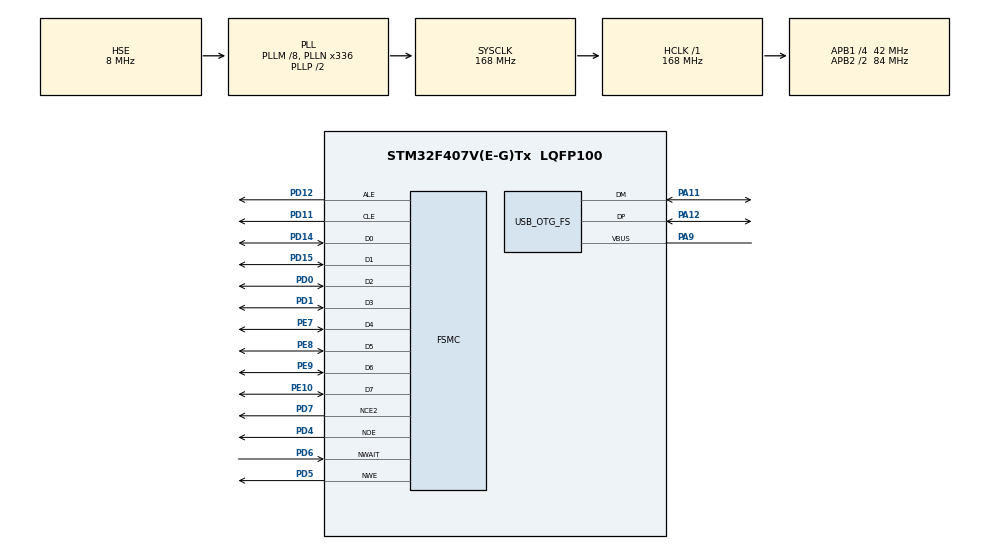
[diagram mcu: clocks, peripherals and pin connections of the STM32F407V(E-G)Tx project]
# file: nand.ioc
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Mcu.Family=STM32F4
Mcu.Name=STM32F407V(E-G)Tx
Mcu.Package=LQFP100
NVIC.OTG_FS_IRQn=true\:0\:0\:false\:false\:true
NVIC.PriorityGroup=NVIC_PRIORITYGROUP_0
PA11.Mode=Device_Only
PA11.Signal=USB_OTG_FS_DM
PA12.Mode=Device_Only
PA12.Signal=USB_OTG_FS_DP
PA9.Mode=Activate_VBUS
PA9.Signal=USB_OTG_FS_VBUS
PD0.GPIO_Mode=GPIO_MODE_AF_PP
PD0.GPIO_PuPd=GPIO_PULLUP
PD0.GPIO_Speed_High_Default=GPIO_SPEED_FREQ_VERY_HIGH
PD0.Mode=8b-dmux1
PD0.Signal=FSMC_D2
PD1.GPIO_Mode=GPIO_MODE_AF_PP
PD1.GPIO_PuPd=GPIO_PULLUP
PD1.GPIO_Speed_High_Default=GPIO_SPEED_FREQ_VERY_HIGH
PD1.Mode=8b-dmux1
PD1.Signal=FSMC_D3
PD11.GPIO_Mode=GPIO_MODE_AF_PP
PD11.GPIO_PuPd=GPIO_PULLUP
PD11.GPIO_Speed_High_Default=GPIO_SPEED_FREQ_VERY_HIGH
PD11.Mode=8b-dmux1
PD11.Signal=FSMC_CLE
PD12.GPIO_Mode=GPIO_MODE_AF_PP
PD12.GPIO_PuPd=GPIO_PULLUP
PD12.GPIO_Speed_High_Default=GPIO_SPEED_FREQ_VERY_HIGH
PD12.Mode=8b-dmux1
PD12.Signal=FSMC_ALE
PD14.GPIO_Mode=GPIO_MODE_AF_PP
PD14.GPIO_PuPd=GPIO_PULLUP
PD14.GPIO_Speed_High_Default=GPIO_SPEED_FREQ_VERY_HIGH
PD14.Mode=8b-dmux1
PD14.Signal=FSMC_D0
PD15.GPIO_Mode=GPIO_MODE_AF_PP
PD15.GPIO_PuPd=GPIO_PULLUP
PD15.GPIO_Speed_High_Default=GPIO_SPEED_FREQ_VERY_HIGH
PD15.Mode=8b-dmux1
PD15.Signal=FSMC_D1
PD4.GPIO_Mode=GPIO_MODE_AF_PP
PD4.GPIO_PuPd=GPIO_PULLUP
PD4.GPIO_Speed_High_Default=GPIO_SPEED_FREQ_VERY_HIGH
PD4.Mode=8b-dmux1
PD4.Signal=FSMC_NOE
PD5.GPIO_Mode=GPIO_MODE_AF_PP
PD5.GPIO_PuPd=GPIO_PULLUP
PD5.GPIO_Speed_High_Default=GPIO_SPEED_FREQ_VERY_HIGH
PD5.Mode=8b-dmux1
PD5.Signal=FSMC_NWE
PD6.GPIO_Mode=GPIO_MODE_AF_PP
PD6.GPIO_PuPd=GPIO_PULLUP
PD6.GPIO_Speed_High_Default=GPIO_SPEED_FREQ_VERY_HIGH
PD6.Mode=Wait1
PD6.Signal=FSMC_NWAIT
PD7.GPIO_Mode=GPIO_MODE_AF_PP
PD7.GPIO_PuPd=GPIO_PULLUP
PD7.GPIO_Speed_High_Default=GPIO_SPEED_FREQ_VERY_HIGH
PD7.Mode=NandChipSelect2_1
PD7.Signal=FSMC_NCE2
PE10.GPIO_Mode=GPIO_MODE_AF_PP
PE10.GPIO_PuPd=GPIO_PULLUP
PE10.GPIO_Speed_High_Default=GPIO_SPEED_FREQ_VERY_HIGH
PE10.Mode=8b-dmux1
PE10.Signal=FSMC_D7
PE7.GPIO_Mode=GPIO_MODE_AF_PP
PE7.GPIO_PuPd=GPIO_PULLUP
PE7.GPIO_Speed_High_Default=GPIO_SPEED_FREQ_VERY_HIGH
PE7.Mode=8b-dmux1
PE7.Signal=FSMC_D4
PE8.GPIO_Mode=GPIO_MODE_AF_PP
PE8.GPIO_PuPd=GPIO_PULLUP
PE8.GPIO_Speed_High_Default=GPIO_SPEED_FREQ_VERY_HIGH
PE8.Mode=8b-dmux1
PE8.Signal=FSMC_D5
PE9.GPIO_Mode=GPIO_MODE_AF_PP
PE9.GPIO_PuPd=GPIO_PULLUP
PE9.GPIO_Speed_High_Default=GPIO_SPEED_FREQ_VERY_HIGH
PE9.Mode=8b-dmux1
PE9.Signal=FSMC_D6
PH0-OSC_IN.Mode=HSE-External-Oscillator
PH0-OSC_IN.Signal=RCC_OSC_IN
PH1-OSC_OUT.Mode=HSE-External-Oscillator
PH1-OSC_OUT.Signal=RCC_OSC_OUT
ProjectManager.HeapSize=0x200
ProjectManager.StackSize=0x400
ProjectManager.TargetToolchain=SW4STM32
RCC.48MHZClocksFreq_Value=48000000
RCC.AHBFreq_Value=168000000
RCC.APB1CLKDivider=RCC_HCLK_DIV4
RCC.APB1Freq_Value=42000000
RCC.APB1TimFreq_Value=84000000
RCC.APB2CLKDivider=RCC_HCLK_DIV2
RCC.APB2Freq_Value=84000000
RCC.APB2TimFreq_Value=168000000
RCC.CortexFreq_Value=168000000
RCC.HCLKFreq_Value=168000000
RCC.HSE_VALUE=8000000
RCC.HSI_VALUE=16000000
RCC.LSE_VALUE=32768
RCC.PLLM=8
RCC.PLLN=336
RCC.PLLQ=7
RCC.SYSCLKFreq_VALUE=168000000
RCC.SYSCLKSource=RCC_SYSCLKSOURCE_PLLCLK
RCC.VCOOutputFreq_Value=336000000
USB_DEVICE.CLASS_NAME-CDC_FS=CDC
USB_DEVICE.CLASS_NAME_FS=CDC
USB_DEVICE.USBD_HandleTypeDef-CDC_FS=hUsbDeviceFS
USB_DEVICE.VirtualMode-CDC_FS=Cdc
USB_DEVICE.VirtualModeFS=Cdc_FS
USB_OTG_FS.VirtualMode=Device_Only
VP_USB_DEVICE_VS_USB_DEVICE_CDC_FS.Mode=CDC_FS
board=STM32F4DISCOVERY

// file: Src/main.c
/**
 ******************************************************************************
 * File Name          : main.c
 * Description        : Main program body
 ******************************************************************************
 * This notice applies to any and all portions of this file
 * that are not between comment pairs USER CODE BEGIN and
 * USER CODE END. Other portions of this file, whether
 * inserted by the user or by software development tools
 * are owned by their respective copyright owners.
 *
 * Copyright (c) 2017 STMicroelectronics International N.V.
 * All rights reserved.
 *
 * Redistribution and use in source and binary forms, with or without
 * modification, are permitted, provided that the following conditions are met:
 *
 * 1. Redistribution of source code must retain the above copyright notice,
 *    this list of conditions and the following disclaimer.
 * 2. Redistributions in binary form must reproduce the above copyright notice,
 *    this list of conditions and the following disclaimer in the documentation
 *    and/or other materials provided with the distribution.
 * 3. Neither the name of STMicroelectronics nor the names of other
 *    contributors to this software may be used to endorse or promote products
 *    derived from this software without specific written permission.
 * 4. This software, including modifications and/or derivative works of this
 *    software, must execute solely and exclusively on microcontroller or
 *    microprocessor devices manufactured by or for STMicroelectronics.
 * 5. Redistribution and use of this software other than as permitted under
 *    this license is void and will automatically terminate your rights under
 *    this license.
 *
 * THIS SOFTWARE IS PROVIDED BY STMICROELECTRONICS AND CONTRIBUTORS "AS IS"
 * AND ANY EXPRESS, IMPLIED OR STATUTORY WARRANTIES, INCLUDING, BUT NOT
 * LIMITED TO, THE IMPLIED WARRANTIES OF MERCHANTABILITY, FITNESS FOR A
 * PARTICULAR PURPOSE AND NON-INFRINGEMENT OF THIRD PARTY INTELLECTUAL PROPERTY
 * RIGHTS ARE DISCLAIMED TO THE FULLEST EXTENT PERMITTED BY LAW. IN NO EVENT
 * SHALL STMICROELECTRONICS OR CONTRIBUTORS BE LIABLE FOR ANY DIRECT, INDIRECT,
 * INCIDENTAL, SPECIAL, EXEMPLARY, OR CONSEQUENTIAL DAMAGES (INCLUDING, BUT NOT
 * LIMITED TO, PROCUREMENT OF SUBSTITUTE GOODS OR SERVICES; LOSS OF USE, DATA,
 * OR PROFITS; OR BUSINESS INTERRUPTION) HOWEVER CAUSED AND ON ANY THEORY OF
 * LIABILITY, WHETHER IN CONTRACT, STRICT LIABILITY, OR TORT (INCLUDING
 * NEGLIGENCE OR OTHERWISE) ARISING IN ANY WAY OUT OF THE USE OF THIS SOFTWARE,
 * EVEN IF ADVISED OF THE POSSIBILITY OF SUCH DAMAGE.
 *
 ******************************************************************************
 */
#include "main.h"
#include "stm32f4xx_hal.h"
#include "usb_device.h"
#include "usbd_cdc_if.h"
#include "helper.h"

#define CMD_READID 'i'
#define CMD_READPAGE 'p'
#define CMD_READSPARE 's'
#define CMD_PING1 '1'
#define CMD_PING2 '2'
#define CMD_ERASE 'e'
#define CMD_WRITEPAGE 'w'
#define CMD_WRITESPARE 'r'
#define CMD_WRITE_PAGE_SPARE 'o'

#define CMD_RET_OK 0x00
#define CMD_RET_ERROR 0xFF

NAND_HandleTypeDef hnand1;

/* USER CODE BEGIN PV */
/* Private variables ---------------------------------------------------------*/
static NAND_IDTypeDef NAND_ID = {0};
static uint8_t aRxBuffer[4096+224];
struct RespondHeader {
   uint32_t ret;
   uint32_t payload_sz;
   uint32_t crc;
} cmd_header;
/* USER CODE END PV */

#ifdef __GNUC__
  /* With GCC, small printf (option LD Linker->Libraries->Small printf
     set to 'Yes') calls __io_putchar() */
  #define PUTCHAR_PROTOTYPE int __io_putchar(int ch)
#else
  #define PUTCHAR_PROTOTYPE int fputc(int ch, FILE *f)
#endif /* __GNUC__ */
void SystemClock_Config(void);
static void MX_GPIO_Init(void);
static void MX_FSMC_Init(void);
void Send(uint8_t* buf, size_t len);
void SendChar(uint8_t ch);
uint8_t CalCRC(uint8_t* buf, size_t len)
{
	return 0; //return 0 for now
}
uint8_t RecvChar();

/* USER CODE BEGIN PFP */
/* Private function prototypes -----------------------------------------------*/

/* USER CODE END PFP */

int main(void) {

	/* MCU Configuration----------------------------------------------------------*/

	/* Reset of all peripherals, Initializes the Flash interface and the Systick. */
	HAL_Init();

	/* Configure the system clock */
	SystemClock_Config();

	/* Initialize all configured peripherals */
	MX_GPIO_Init();
	MX_FSMC_Init();
	MX_USB_DEVICE_Init();

	/* Infinite loop */
	/* USER CODE BEGIN WHILE */
	NAND_AddressTypedef Address;

	uint16_t pcount = 0;

	while(1) {
		if(receive_buff_size()){
			switch(RecvChar())
			{
			case CMD_READID:
				//Some NAND need to reset first to get the correct ID
				HAL_NAND_Reset(&hnand1);
				if (HAL_NAND_Read_ID(&hnand1, &NAND_ID) != HAL_OK) {
					cmd_header.ret=CMD_RET_ERROR;
					cmd_header.payload_sz=0;
					cmd_header.crc=0;
					Send((uint8_t*)&cmd_header, sizeof(cmd_header));
				} else {
					aRxBuffer[0] = NAND_ID.Maker_Id;
					aRxBuffer[1] = NAND_ID.Device_Id;
					aRxBuffer[2] = NAND_ID.Third_Id;
					aRxBuffer[3] = NAND_ID.Fourth_Id;
					cmd_header.payload_sz = 4;
					cmd_header.ret = CMD_RET_OK;
					cmd_header.crc = CalCRC(aRxBuffer, 4);
					Send((uint8_t*)&cmd_header, sizeof(cmd_header));
					Send(aRxBuffer, cmd_header.payload_sz);
				}
				break;
			case CMD_READPAGE:
				Address.Page = RecvChar();
				Address.Page |= RecvChar() << 8;
				Address.Block = RecvChar();
				Address.Block |= RecvChar() << 8;
				Address.Plane = RecvChar();
				Address.Plane |= RecvChar() << 8;

				if (HAL_NAND_Read_Page(&hnand1, &Address, aRxBuffer, 1) != HAL_OK) {
					cmd_header.ret=CMD_RET_ERROR;
					cmd_header.payload_sz=0;
					cmd_header.crc=0;
					Send((uint8_t*)&cmd_header, sizeof(cmd_header));
				} else {
					cmd_header.payload_sz = hnand1.Config.PageSize;
					cmd_header.ret = CMD_RET_OK;
					cmd_header.crc = CalCRC(aRxBuffer, hnand1.Config.PageSize);
					Send((uint8_t*)&cmd_header, sizeof(cmd_header));
					Send(aRxBuffer, cmd_header.payload_sz);
				}
				break;
			case CMD_READSPARE:
				Address.Page = RecvChar();
				Address.Page |= RecvChar() << 8;
				Address.Block = RecvChar();
				Address.Block |= RecvChar() << 8;
				Address.Plane = RecvChar();
				Address.Plane |= RecvChar() << 8;

				if (HAL_NAND_Read_SpareArea(&hnand1, &Address, aRxBuffer, 1) != HAL_OK) {
					cmd_header.ret=CMD_RET_ERROR;
					cmd_header.payload_sz=0;
					cmd_header.crc=0;
					Send((uint8_t*)&cmd_header, sizeof(cmd_header));
				} else {
					cmd_header.payload_sz = hnand1.Config.SpareAreaSize;
					cmd_header.ret = CMD_RET_OK;
					cmd_header.crc = CalCRC(aRxBuffer, hnand1.Config.SpareAreaSize);
					Send((uint8_t*)&cmd_header, sizeof(cmd_header));
					Send(aRxBuffer, cmd_header.payload_sz);
				}
				break;
			case CMD_ERASE:
				Address.Page = 0;
				Address.Block = RecvChar();
				Address.Block |= RecvChar() << 8;
				Address.Plane = RecvChar();
				Address.Plane |= RecvChar() << 8;

				if (HAL_NAND_Erase_Block(&hnand1, &Address) != HAL_OK) {
					cmd_header.ret=CMD_RET_ERROR;
					cmd_header.payload_sz=0;
					cmd_header.crc=0;
					Send((uint8_t*)&cmd_header, sizeof(cmd_header));
				} else {
					cmd_header.ret=CMD_RET_OK;
					cmd_header.payload_sz=0;
					cmd_header.crc=0;
					Send((uint8_t*)&cmd_header, sizeof(cmd_header));
				}
				break;
			case CMD_WRITEPAGE:
				Address.Page = RecvChar();
				Address.Page |= RecvChar() << 8;
				Address.Block = RecvChar();
				Address.Block |= RecvChar() << 8;
				Address.Plane = RecvChar();
				Address.Plane |= RecvChar() << 8;

				for(pcount = 0; pcount < hnand1.Config.PageSize; pcount++) {
					aRxBuffer[pcount] = RecvChar();
				}

				if (HAL_NAND_Write_Page(&hnand1, &Address, aRxBuffer, 1) != HAL_OK) {
					cmd_header.ret=CMD_RET_ERROR;
					cmd_header.payload_sz=0;
					cmd_header.crc=0;
					Send((uint8_t*)&cmd_header, sizeof(cmd_header));
				} else {
					cmd_header.ret=CMD_RET_OK;
					cmd_header.payload_sz=0;
					cmd_header.crc=0;
					Send((uint8_t*)&cmd_header, sizeof(cmd_header));
				}
				break;
			case CMD_WRITESPARE:
				Address.Page = RecvChar();
				Address.Page |= RecvChar() << 8;
				Address.Block = RecvChar();
				Address.Block |= RecvChar() << 8;
				Address.Plane = RecvChar();
				Address.Plane |= RecvChar() << 8;

				for(pcount = 0; pcount < hnand1.Config.SpareAreaSize; pcount++) {
					aRxBuffer[pcount] = RecvChar();
				}

				if (HAL_NAND_Write_SpareArea(&hnand1, &Address, aRxBuffer, 1) != HAL_OK) {
					cmd_header.ret=CMD_RET_ERROR;
					cmd_header.payload_sz=0;
					cmd_header.crc=0;
					Send((uint8_t*)&cmd_header, sizeof(cmd_header));
				} else {
					cmd_header.ret=CMD_RET_OK;
					cmd_header.payload_sz=0;
					cmd_header.crc=0;
					Send((uint8_t*)&cmd_header, sizeof(cmd_header));
				}
				break;
			case CMD_WRITE_PAGE_SPARE:
				Address.Page = RecvChar();
				Address.Page |= RecvChar() << 8;
				Address.Block = RecvChar();
				Address.Block |= RecvChar() << 8;
				Address.Plane = RecvChar();
				Address.Plane |= RecvChar() << 8;

				for(pcount = 0; pcount < (hnand1.Config.SpareAreaSize+hnand1.Config.PageSize); pcount++) {
					aRxBuffer[pcount] = RecvChar();
				}

				if (HAL_NAND_Write_Page_Oob_8b(&hnand1, &Address, aRxBuffer, 1) != HAL_OK) {
					cmd_header.ret=CMD_RET_ERROR;
					cmd_header.payload_sz=0;
					cmd_header.crc=0;
					Send((uint8_t*)&cmd_header, sizeof(cmd_header));
				} else {
					cmd_header.ret=CMD_RET_OK;
					cmd_header.payload_sz=0;
					cmd_header.crc=0;
					Send((uint8_t*)&cmd_header, sizeof(cmd_header));
				}
				break;
			case CMD_PING1:
				SendChar('a');
				break;
			case CMD_PING2:
				SendChar('b');
				break;
			default:
				continue;
			}
		}
	}
	/* USER CODE END 3 */

}

/** System Clock Configuration
 */
void SystemClock_Config(void) {

	RCC_OscInitTypeDef RCC_OscInitStruct;
	RCC_ClkInitTypeDef RCC_ClkInitStruct;

	/**Configure the main internal regulator output voltage
	 */
	__HAL_RCC_PWR_CLK_ENABLE();

	__HAL_PWR_VOLTAGESCALING_CONFIG(PWR_REGULATOR_VOLTAGE_SCALE1);

	/**Initializes the CPU, AHB and APB busses clocks
	 */
	RCC_OscInitStruct.OscillatorType = RCC_OSCILLATORTYPE_HSE;
	RCC_OscInitStruct.HSEState = RCC_HSE_ON;
	RCC_OscInitStruct.PLL.PLLState = RCC_PLL_ON;
	RCC_OscInitStruct.PLL.PLLSource = RCC_PLLSOURCE_HSE;
	RCC_OscInitStruct.PLL.PLLM = 8;
	RCC_OscInitStruct.PLL.PLLN = 336;
	RCC_OscInitStruct.PLL.PLLP = RCC_PLLP_DIV2;
	RCC_OscInitStruct.PLL.PLLQ = 7;
	if (HAL_RCC_OscConfig(&RCC_OscInitStruct) != HAL_OK) {
		_Error_Handler(__FILE__, __LINE__);
	}

	/**Initializes the CPU, AHB and APB busses clocks
	 */
	RCC_ClkInitStruct.ClockType = RCC_CLOCKTYPE_HCLK | RCC_CLOCKTYPE_SYSCLK
			| RCC_CLOCKTYPE_PCLK1 | RCC_CLOCKTYPE_PCLK2;
	RCC_ClkInitStruct.SYSCLKSource = RCC_SYSCLKSOURCE_PLLCLK;
	RCC_ClkInitStruct.AHBCLKDivider = RCC_SYSCLK_DIV1;
	RCC_ClkInitStruct.APB1CLKDivider = RCC_HCLK_DIV4;
	RCC_ClkInitStruct.APB2CLKDivider = RCC_HCLK_DIV2;

	if (HAL_RCC_ClockConfig(&RCC_ClkInitStruct, FLASH_LATENCY_5) != HAL_OK) {
		_Error_Handler(__FILE__, __LINE__);
	}

	/**Configure the Systick interrupt time
	 */
	HAL_SYSTICK_Config(HAL_RCC_GetHCLKFreq() / 1000);

	/**Configure the Systick
	 */
	HAL_SYSTICK_CLKSourceConfig(SYSTICK_CLKSOURCE_HCLK);

	/* SysTick_IRQn interrupt configuration */
	HAL_NVIC_SetPriority(SysTick_IRQn, 0, 0);
}

/** Configure pins as
 * Analog
 * Input
 * Output
 * EVENT_OUT
 * EXTI
 */
static void MX_GPIO_Init(void) {

	/* GPIO Ports Clock Enable */
	__HAL_RCC_GPIOH_CLK_ENABLE();
	__HAL_RCC_GPIOE_CLK_ENABLE();
	__HAL_RCC_GPIOD_CLK_ENABLE();
	__HAL_RCC_GPIOA_CLK_ENABLE();

}

/* FSMC initialization function */
static void MX_FSMC_Init(void) {
	FSMC_NAND_PCC_TimingTypeDef ComSpaceTiming;
	FSMC_NAND_PCC_TimingTypeDef AttSpaceTiming;

	/** Perform the NAND1 memory initialization sequence
	 */
	hnand1.Instance = FSMC_NAND_DEVICE;
	/* hnand1.Init */
	hnand1.Init.NandBank = FSMC_NAND_BANK2;
	hnand1.Init.Waitfeature = FSMC_NAND_PCC_WAIT_FEATURE_ENABLE;
	hnand1.Init.MemoryDataWidth = FSMC_NAND_PCC_MEM_BUS_WIDTH_8;
	hnand1.Init.EccComputation = FSMC_NAND_ECC_DISABLE;
	hnand1.Init.ECCPageSize = FSMC_NAND_ECC_PAGE_SIZE_4096BYTE;
	hnand1.Init.TCLRSetupTime = 2;
	hnand1.Init.TARSetupTime = 2;
	/* hnand1.Config */
	hnand1.Config.PageSize = 0x1000;
	hnand1.Config.SpareAreaSize = 0xe0;
	hnand1.Config.BlockSize = 0x100;
	hnand1.Config.BlockNbr = 0x800;
	hnand1.Config.PlaneNbr = 2;
	hnand1.Config.PlaneSize = 0x400;
	hnand1.Config.ExtraCommandEnable = DISABLE;
	/* ComSpaceTiming */
	ComSpaceTiming.SetupTime = 5;//3;
	ComSpaceTiming.WaitSetupTime = 10;//10;
	ComSpaceTiming.HoldSetupTime = 4;//4;
	ComSpaceTiming.HiZSetupTime = 14;//14;
	/* AttSpaceTiming */
	AttSpaceTiming.SetupTime = 5;//3;
	AttSpaceTiming.WaitSetupTime = 10;//10;
	AttSpaceTiming.HoldSetupTime = 4;//4;
	AttSpaceTiming.HiZSetupTime = 14;//14;

	if (HAL_NAND_Init(&hnand1, &ComSpaceTiming, &AttSpaceTiming) != HAL_OK) {
		_Error_Handler(__FILE__, __LINE__);
	}

}

/* USER CODE BEGIN 4 */

/**
  * @brief  Retargets the C library printf function to the USART.
  * @param  None
  * @retval None
  */
PUTCHAR_PROTOTYPE
{
  /* Place your implementation of fputc here */
  SendChar(ch);

  return ch;
}

void Send(uint8_t* buf, size_t len)
{
  while(CDC_Transmit_FS((uint8_t *)buf, len) != USBD_OK) {
	  continue;
  }
}

void SendChar(uint8_t ch)
{
  while(CDC_Transmit_FS((uint8_t *)&ch, 1) != USBD_OK) {
	  continue;
  }
}

uint8_t RecvChar()
{
	uint8_t c;
	while(receive_buff_dequeue(&c, 1)) {
		continue;
	}

	return c;
}
/* USER CODE END 4 */

void _Error_Handler(char * file, int line) {
	while (1) {
	}
}

/************************ (C) COPYRIGHT STMicroelectronics *****END OF FILE****/
